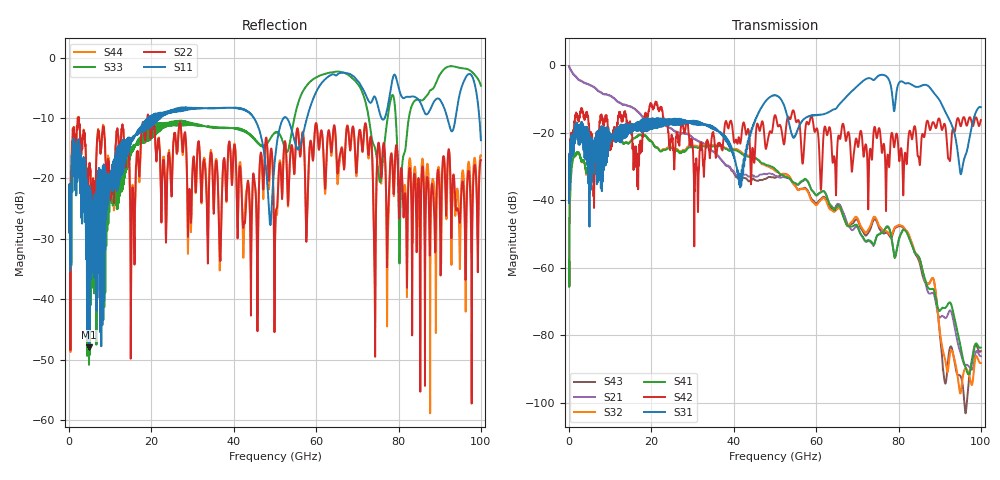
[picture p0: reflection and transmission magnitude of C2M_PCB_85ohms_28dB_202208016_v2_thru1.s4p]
! Info: Touchstone file created by Circ.  Input file=Intel_C2M_200G_12p0in_202208016_staggered.circ
# Hz S RI R 50
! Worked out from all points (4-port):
!   10000 points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, 10 MHz to 100 GHz, reference 50 ohm
!   strongest paths, dB at 10 MHz, 25.01 GHz, 50.01 GHz, 75.01 GHz, 100 GHz:
!     S31: -40.8, -16.7, -8.9, -3.3, -12.5
!     S42: -40.8, -22.1, -14.8, -19.8, -16.3
!     S41: -57.6, -24.6, -30.8, -50.2, -83.6
!     S32: -57.6, -24.3, -31.3, -46.7, -88.1
!     S21: -0.3, -19.0, -32.8, -50.3, -86.2
!     S43: -0.3, -18.9, -33.4, -47.3, -84.6
!   lowest |S11| = -47.9 dB at 4.85 GHz (marker M1), VSWR 1.01, Z = 50.2 - j0.355 ohm
!   |S11| at or under -10 dB: start of sweep to 19.28 GHz; 44.88 GHz to 52.1 GHz (7.22 GHz wide, 14.9 % of centre); 52.89 GHz to 57.75 GHz (4.861 GHz wide, 8.79 % of centre)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
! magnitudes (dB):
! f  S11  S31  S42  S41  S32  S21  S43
! 10 MHz  -28.8  -40.8  -40.8  -57.6  -57.6  -0.3  -0.3
! 4.85 GHz  -47.9  -20.4  -17.7  -29.3  -29.5  -5.8  -5.8
! 40.87 GHz  -8.3  -31.8  -23.3  -25.4  -24.9  -32.5  -33.2
! 49.54 GHz  -20.7  -9.0  -17.6  -30.2  -30.7  -32.3  -33.2
! 86.84 GHz  -9.4  -5.9  -16.8  -64.9  -64.6  -66.1  -64.6
! 95.18 GHz  -5.2  -32.3  -18.0  -84.1  -96.4  -85.6  -92.3
! 100 GHz  -13.7  -12.5  -16.3  -83.6  -88.1  -86.2  -84.6
